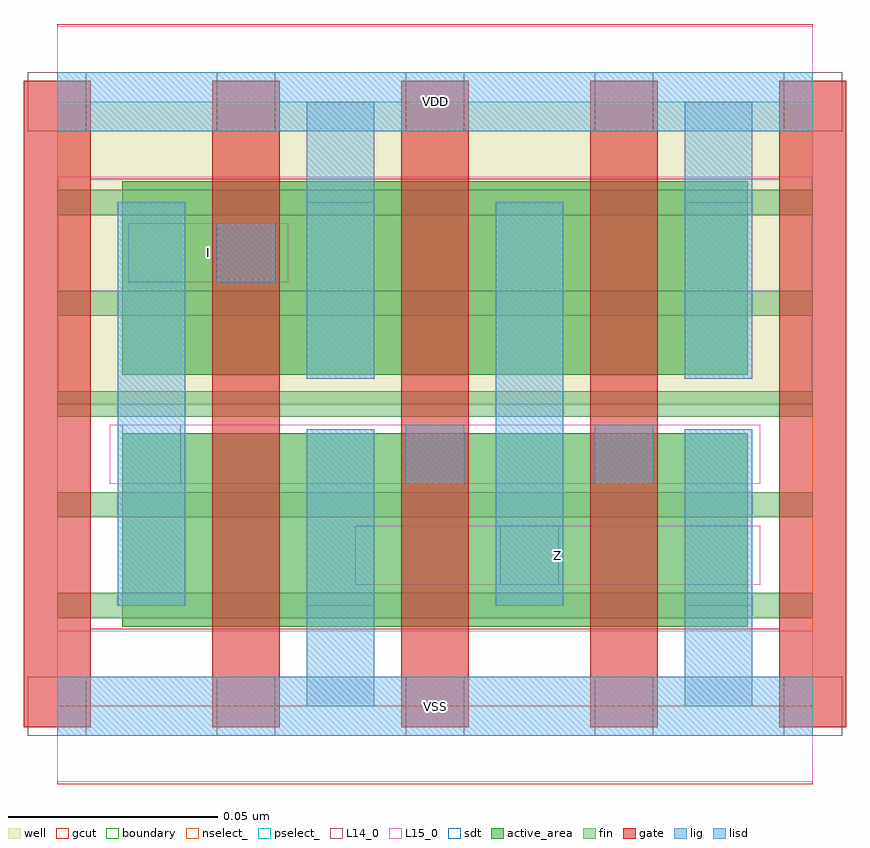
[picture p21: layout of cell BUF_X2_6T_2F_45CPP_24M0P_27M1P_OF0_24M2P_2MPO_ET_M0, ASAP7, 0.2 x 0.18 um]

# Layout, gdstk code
import gdstk
lib = gdstk.Library(unit=1e-6, precision=2.5e-10)
def R(c, l, rs):  # rectangles x0, y0, x1, y1
    for r in rs: c.add(gdstk.rectangle(r[:2], r[2:], *l))
def A(c, l, x, y, w, h, nx, ny, dx, dy):  # array of equal rectangles
    R(c, l, [(x+i*dx, y+j*dy, x+i*dx+w, y+j*dy+h) for i in range(nx) for j in range(ny)])
well = (1, 0)
fin = (2, 0)
gate = (7, 0)
gcut = (10, 0)
active_area = (11, 0)
nselect_ = (12, 0)
pselect_ = (13, 0)
L14_0 = (14, 0)
L15_0 = (15, 0)
lig = (16, 0)
lisd = (17, 0)
sdt = (88, 0)
boundary = (100, 0)

buf_x2_6t_2f_45cpp_24m0p = lib.new_cell('BUF_X2_6T_2F_45CPP_24M0P_27M1P_OF0_24M2P_2MPO_ET_M0')
R(buf_x2_6t_2f_45cpp_24m0p, well, [(0,0.072,0.18,0.144)])
A(buf_x2_6t_2f_45cpp_24m0p, fin, 0, 0.021, 0.18, 0.006, 1, 5, 0, 0.024)
A(buf_x2_6t_2f_45cpp_24m0p, gate, -0.008, -0.005, 0.016, 0.154, 5, 1, 0.045, 0)
R(buf_x2_6t_2f_45cpp_24m0p, gcut, [(0,-0.0185,0.18,0.0185), (-0.008,-0.005,0.008,0.149), (0.172,-0.005,0.188,0.149), (0,0.1255,0.18,0.1625)])
R(buf_x2_6t_2f_45cpp_24m0p, active_area, [(0.0155,0.019,0.0745,0.065), (0.0605,0.019,0.1645,0.065), (0.0155,0.079,0.0745,0.125), (0.0605,0.079,0.1645,0.125)])
R(buf_x2_6t_2f_45cpp_24m0p, nselect_, [(0,0,0.18,0.072)])
R(buf_x2_6t_2f_45cpp_24m0p, pselect_, [(0,0.072,0.18,0.144)])
A(buf_x2_6t_2f_45cpp_24m0p, L14_0, -0.007, -0.007, 0.014, 0.014, 5, 2, 0.045, 0.144)
R(buf_x2_6t_2f_45cpp_24m0p, L14_0, [(0.1055,0.029,0.1195,0.043), (0.0155,0.053,0.0295,0.067), (0.083,0.053,0.097,0.067), (0.128,0.053,0.142,0.067), (0.038,0.101,0.052,0.115)])
R(buf_x2_6t_2f_45cpp_24m0p, L15_0, [(0,-0.018,0.18,0.018), (0.071,0.029,0.1675,0.043), (0.0125,0.053,0.1675,0.067), (0.017,0.101,0.055,0.115), (0,0.126,0.18,0.162)])
R(buf_x2_6t_2f_45cpp_24m0p, lig, [(0,-0.007,0.18,0.007), (0.083,0.053,0.097,0.067), (0.128,0.053,0.142,0.067), (0.038,0.101,0.052,0.115), (0,0.137,0.18,0.151)])
R(buf_x2_6t_2f_45cpp_24m0p, lisd, [(0.0595,0,0.0755,0.066), (0.1495,0,0.1655,0.066), (0.0145,0.024,0.0305,0.12), (0.1045,0.024,0.1205,0.12), (0.0595,0.078,0.0755,0.144), (0.1495,0.078,0.1655,0.144)])
R(buf_x2_6t_2f_45cpp_24m0p, sdt, [(0.0145,0.024,0.0305,0.12), (0.0595,0.024,0.0755,0.066), (0.1045,0.024,0.1205,0.12), (0.1495,0.024,0.1655,0.066), (0.0595,0.078,0.0755,0.12), (0.1495,0.078,0.1655,0.12)])
R(buf_x2_6t_2f_45cpp_24m0p, boundary, [(0,0,0.18,0.144)])
buf_x2_6t_2f_45cpp_24m0p.add(gdstk.Label('I', (0.036,0.108), layer=15, texttype=251))
buf_x2_6t_2f_45cpp_24m0p.add(gdstk.Label('Z', (0.1193,0.036), layer=15, texttype=251))
buf_x2_6t_2f_45cpp_24m0p.add(gdstk.Label('VDD', (0.09,0.144), layer=15, texttype=251))
buf_x2_6t_2f_45cpp_24m0p.add(gdstk.Label('VSS', (0.09,0), layer=15, texttype=251))
buf_x2_6t_2f_45cpp_24m0p.add(gdstk.Label('VDD', (0.09,0.144), layer=1, texttype=251))
buf_x2_6t_2f_45cpp_24m0p.add(gdstk.Label('VSS', (0.09,0), layer=3, texttype=251))

lib.write_gds('BUF_X2_6T_2F_45CPP_24M0P_27M1P_OF0_24M2P_2MPO_ET_M0.gds')
